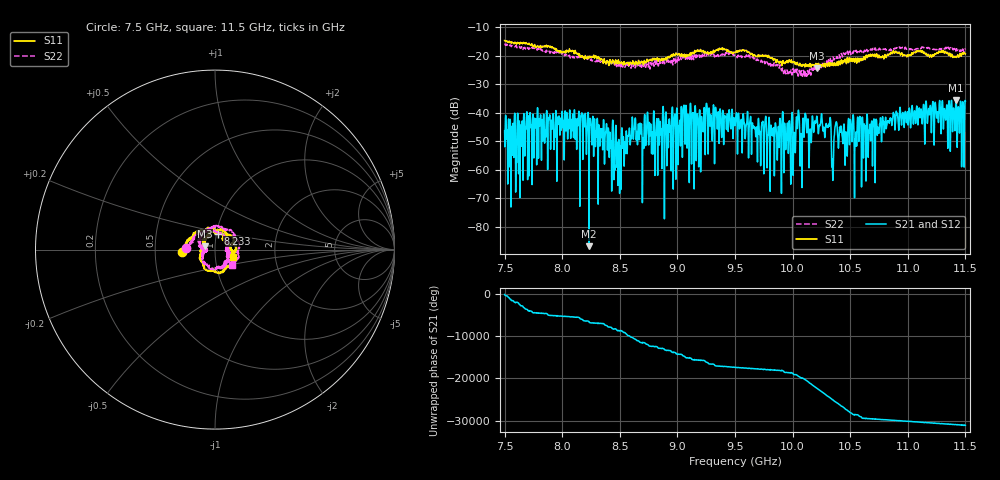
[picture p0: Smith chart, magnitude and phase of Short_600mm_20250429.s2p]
#  HZ  S  DB  R  50.00
! Rohde & Schwarz ZVA40 2Ports - Version 4.11 - 1145.1110k40 SN: 100216
! Date: 2025-04-29 18:24:26
! Measurements: S11 S21 S12 S22
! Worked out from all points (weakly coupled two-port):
!   5001 points, 7.5 GHz to 11.5 GHz, reference 50 ohm
!   highest |S21| = -35.66 dB at 11.42 GHz (marker M1); lowest = -86.8 dB at 8.234 GHz (marker M2)
!   lowest |S11| = -24.5 dB at 10.21 GHz (marker M3), VSWR 1.13, Z = 44.6 + j1.56 ohm
!   |S11| at or under -10 dB: start of sweep to end of sweep
!   |S22| runs from -27.6 to -15.8 dB; largest |S21 - S12| = 0.00014
!   S11 on the Smith chart (normalised r, x): 7.5 GHz: 0.69, -0.02; 8.233 GHz: 1.02, +0.18; 11.5 GHz: 1.22, -0.10
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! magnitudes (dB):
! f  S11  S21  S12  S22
! 7.5 GHz  -14.7  -46.3  -46.3  -15.8
! 7.615 GHz  -15.5  -40.7  -40.6  -16.8
! 7.707 GHz  -16.0  -41.1  -41.1  -17.8
! 8.167 GHz  -20.3  -40.6  -40.6  -20.6
! 8.233 GHz  -20.8  -58.0  -58.1  -21.2
! 8.234 GHz  -20.7  -86.8  -81.8  -21.3
! 8.396 GHz  -22.3  -47.0  -46.9  -22.4
! 8.491 GHz  -22.2  -49.4  -49.4  -23.6
! 8.621 GHz  -22.8  -47.4  -47.4  -23.6
! 8.834 GHz  -21.9  -43.3  -43.3  -23.6
! 9.5 GHz  -18.9  -44.6  -44.5  -19.8
! 9.886 GHz  -22.5  -45.4  -45.3  -24.3
! 10.17 GHz  -23.2  -44.3  -44.3  -24.3
! 10.21 GHz  -24.5  -42.1  -42.2  -24.8
! 10.31 GHz  -22.4  -44.0  -44.0  -21.5
! 10.35 GHz  -22.9  -60.2  -60.2  -20.7
! 10.38 GHz  -23.5  -43.5  -43.6  -21.1
! 10.55 GHz  -22.3  -50.6  -50.5  -18.4
! 10.58 GHz  -22.3  -48.5  -48.5  -18.6
! 10.83 GHz  -19.7  -43.2  -43.2  -18.1
! 11.42 GHz  -20.3  -35.7  -35.6  -18.0
! 11.5 GHz  -19.4  -36.0  -36.0  -17.9
